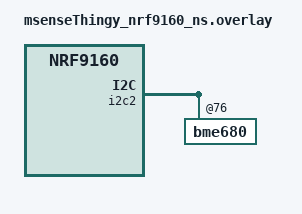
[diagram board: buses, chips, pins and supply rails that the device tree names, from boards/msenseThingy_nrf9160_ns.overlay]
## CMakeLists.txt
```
#
# Copyright (c) 2022 Nordic Semiconductor ASA
#
# SPDX-License-Identifier: LicenseRef-Nordic-5-Clause
#

cmake_minimum_required(VERSION 3.20.0)

find_package(Zephyr REQUIRED HINTS $ENV{ZEPHYR_BASE})
project(nrf_cloud_multi_service_2)
zephyr_compile_definitions(PROJECT_NAME=${PROJECT_NAME})

# Include certs files if enabled.
zephyr_include_directories_ifdef(CONFIG_NRF_CLOUD_PROVISION_CERTIFICATES certs)

# NORDIC SDK APP START
target_sources(app PRIVATE src/main.c)
target_sources(app PRIVATE src/application.c)
target_sources(app PRIVATE src/cloud_connection.c)
target_sources(app PRIVATE src/message_queue.c)
target_sources(app PRIVATE src/temperature.c)
target_sources(app PRIVATE src/fota_support.c)
target_sources(app PRIVATE src/led_control.c)
target_sources(app PRIVATE src/sample_reboot.c)
target_sources(app PRIVATE src/shadow_config.c)

if(CONFIG_LOCATION_TRACKING)
target_sources(app PRIVATE src/location_tracking.c)
endif()

if(CONFIG_COAP_SHADOW)
target_sources(app PRIVATE src/shadow_support_coap.c)
endif()

if(CONFIG_COAP_FOTA)
target_sources(app PRIVATE src/fota_support_coap.c)
endif()

if(CONFIG_NRF_PROVISIONING)
target_sources(app PRIVATE src/provisioning_support.c)
endif()

# Include modem-specific features if supported
if(CONFIG_NRF_MODEM_LIB)
	target_sources(app PRIVATE src/at_commands.c)
endif()

# NORDIC SDK APP END

zephyr_include_directories(src)
```

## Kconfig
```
#
# Copyright (c) 2022 Nordic Semiconductor ASA
#
# SPDX-License-Identifier: LicenseRef-Nordic-5-Clause
#

menu "Multi Service Sample Settings"

config APP_VERSION
	string "Multi Service Sample version"
	default "1.0.0"

config CLOUD_CONNECTION_RETRY_TIMEOUT_SECONDS
	int "Cloud connection retry timeout (seconds)"
	default 30
	help
	  If connecting to nRF Cloud takes longer than this timeout, it will be
	  reattempted.

config CLOUD_READY_TIMEOUT_SECONDS
	int "Cloud readiness timeout (seconds)"
	default 600
	help
	  If the connection to nRF Cloud does not become ready within this
	  timeout, the sample will reset its connection and try again.

config DATE_TIME_ESTABLISHMENT_TIMEOUT_SECONDS
	int "Modem date and time establishment timeout (seconds)"
	default 300
	help
	  The sample will wait this many seconds for the modem to determine the
	  current date and time before giving up and moving on.

config APPLICATION_THREAD_STACK_SIZE
	int "Application Thread Stack Size (bytes)"
	default 2048
	help
	  Sets the stack size (in bytes) for the application thread of the
	  sample.

config CONNECTION_THREAD_STACK_SIZE
	int "Connection Thread Stack Size (bytes)"
	default 2048
	help
	  Sets the stack size (in bytes) for the connection thread of the
	  sample.

config MESSAGE_THREAD_STACK_SIZE
	int "Message Queue Thread Stack Size (bytes)"
	default 2048
	help
	  Sets the stack size (in bytes) for the message queue processing
	  thread of the sample.

config LED_THREAD_STACK_SIZE
	int "LED Thread Stack Size (bytes)"
	default 1024
	help
	  Sets the stack size (in bytes) for the LED thread.

config MAX_OUTGOING_MESSAGES
	int "Outgoing message maximum"
	default 25
	help
	  Sets the maximum number of device messages which may be enqueued
	  before further messages are dropped.
	  Increasing this value may require an increase to CONFIG_HEAP_MEM_POOL_SIZE.

config MAX_CONSECUTIVE_SEND_FAILURES
	int "Max outgoing consecutive send failures"
	default 5
	help
	  Sets the maximum number of device messages which may fail to send
	  before a connection reset and cooldown is triggered.

config CONSECUTIVE_SEND_FAILURE_COOLDOWN_SECONDS
	int "Cooldown after max consecutive send failures exceeded"
	default 10
	help
	  If a connection reset is triggered by too many failed device
	  messages, the sample will wait this long (in seconds) before trying
	  again.

config SENSOR_SAMPLE_INTERVAL_SECONDS
	int "Sensor sampling interval (seconds)"
	default 60
	help
	  Sets the time to wait between each sensor sample.

menuconfig LOCATION_TRACKING
	bool "Location tracking service"
	default y
	help
	  Uses GNSS, LTE, and/or Wi-Fi information to determine and report device
	  location.

if LOCATION_TRACKING

config LOCATION_TRACKING_SAMPLE_INTERVAL_SECONDS
	int "Location sampling interval (seconds)"
	default 3600
	help
	  Sets the location sampling interval in seconds.

config LOCATION_TRACKING_GNSS
	bool "Use GNSS method for location tracking"
	default y
	depends on LOCATION_METHOD_GNSS
	help
	  Disable all location tracking methods to completely disable location tracking.

config LOCATION_TRACKING_CELLULAR
	bool "Use cellular method for location tracking"
	default y
	depends on LOCATION_METHOD_CELLULAR
	help
	  Disable all location tracking methods to completely disable location tracking.

config LOCATION_TRACKING_WIFI
	bool "Use Wi-Fi method for location tracking"
	default n
	depends on LOCATION_METHOD_WIFI
	help
	  Requires the use of an nRF7002 companion chip.
	  Disable all location tracking methods to completely disable location tracking.

endif

config TEMP_DATA_USE_SENSOR
	bool "Use genuine temperature data"
	depends on BOARD_THINGY91_NRF9160_NS || BOARD_THINGY91X_NRF9151_NS || BOARD_MSENSEDK_NRF9160_NS
	default y if BOARD_THINGY91_NRF9160_NS || BOARD_THINGY91X_NRF9151_NS || BOARD_MSENSEDK_NRF9160_NS
	select SENSOR
	select BME680
	help
	  Sets whether to take genuine temperature measurements from a
	  connected BME680 sensor, or just simulate sensor data.

config TEMP_TRACKING
	bool "Track temperature"
	default y
	select NRF_CLOUD_ENABLE_SVC_INF_UI_TEMP
	help
	  Sets whether to take temperature measurements.

config TEMP_ALERT_LIMIT
	int "Temperature limit to send alert"
	default 30
	help
	  Sets the temperature in degrees C over which a temperature alert will
	  be sent to the cloud.

choice
	prompt "LED indication"
	default LED_INDICATION_PWM if BOARD_THINGY91_NRF9160_NS || BOARD_THINGY91X_NRF9151_NS
	default LED_INDICATION_GPIO if BOARD_NRF9160DK_NRF9160_NS || BOARD_NRF9161DK_NRF9161_NS || $(dt_compat_enabled,gpio-leds)
	default LED_INDICATION_DISABLED

	config LED_INDICATION_PWM
		select LED
		select LED_PWM
		select PWM
		bool "Enable LED indication using the pwm-leds driver"

	config LED_INDICATION_GPIO
		select LED
		select LED_GPIO
		bool "Enable LED indication using the gpio-leds driver"

	config LED_INDICATION_DISABLED
		bool "Disable LED indication"
endchoice

choice
	prompt "LED indication LED type"
	depends on !LED_INDICATION_DISABLED
	default LED_INDICATOR_RGB if (BOARD_THINGY91_NRF9160_NS || BOARD_THINGY91X_NRF9151_NS) && LED_INDICATION_PWM
	default LED_INDICATOR_4LED if !LED_INDICATION_DISABLED
	default LED_INDICATOR_NONE

	config LED_INDICATOR_RGB
		depends on LED_INDICATION_PWM
		bool "A single RGB LED"

	config LED_INDICATOR_4LED
		depends on !LED_INDICATION_DISABLED
		bool "Four binary LEDs"

	config LED_INDICATOR_NONE
		depends on LED_INDICATION_DISABLED
		bool "No indicator LEDs"

endchoice

config LED_VERBOSE_INDICATION
	depends on !LED_INDICATION_DISABLED
	bool "Enables extra LED status indications"
	default y

config LED_CONTINUOUS_INDICATION
	depends on !LED_INDICATION_DISABLED
	bool "Show an idle pattern instead of turning LEDs off"
	default y

config GNSS_FIX_TIMEOUT_SECONDS
	int "GNSS Fix timeout"
	default 40
	help
	  On each location sample, try for this long to achieve a GNSS fix
	  before falling back to cellular positioning.
	  Set this to 20 or so seconds below the sensor sample interval so
	  that there is time left over to perform cellular positioning.
	  Otherwise, location samples may occur at a longer interval than
	  requested.

config TEST_COUNTER
	bool "Sets whether the test counter is enabled"
	help
	  When enabled, the test counter configuration setting in the shadow is ignored.

config AT_CMD_REQUESTS
	depends on !NRF_CLOUD_COAP
	bool "Enables remote execution of AT commands using device messages"
	default y

config AT_CMD_REQUEST_RESPONSE_BUFFER_LENGTH
	int "Max length (in bytes) for Modem responses during AT command requests"
	help
	  Responses to modem AT commands are stored in a buffer of this length before being sent to
	  nRF Cloud. If a response from the modem exceeds this length, it will be dropped, and an
	  error code sent in its place (-NRF_E2BIG). Cannot be less than 40 bytes.
	default 200

if NRF_CLOUD_COAP

menuconfig COAP_FOTA
	bool "FOTA service when using CoAP to connect to nRF Cloud"
	select FOTA_DOWNLOAD
	select FOTA_DOWNLOAD_PROGRESS_EVT
	select IMG_ERASE_PROGRESSIVELY
	select DFU_TARGET
	select DOWNLOAD_CLIENT
	select REBOOT
	select CJSON_LIB
	select SETTINGS
	default y

if COAP_FOTA

config COAP_FOTA_JOB_CHECK_RATE_MINUTES
	int "FOTA job check interval (minutes)"
	default 60
	help
	  Sets the time to wait between each request to get any pending FOTA job.

config COAP_FOTA_THREAD_STACK_SIZE
	int "CoAP FOTA Thread Stack Size (bytes)"
	default 2048
	help
	  Sets the stack size (in bytes) for the CoAP FOTA thread of the
	  sample.

endif

menuconfig COAP_SHADOW
	bool "Updating shadow service"
	default y
	help
	  Updates the shadow with device information. Checks for a shadow
	  delta periodically and processes it if received.

if COAP_SHADOW

config COAP_SHADOW_CHECK_RATE_SECONDS
	int "Shadow job check interval (seconds)"
	default 300
	help
	  Sets the time to wait between each request to get any change to the
	  device shadow.

config COAP_SHADOW_THREAD_STACK_SIZE
	int "CoAP Shadow Thread Stack Size (bytes)"
	default 3072
	help
	  Sets the stack size (in bytes) for the CoAP shadow thread of the
	  sample.

endif

config COAP_SEND_CONFIRMABLE
	bool "Send device messages as confirmable"
	help
	  Ensures all CoAP transfers, even for often less important messages such
	  as sensor data, are sent as confirmable messages.

endif

endmenu

if NRF_CLOUD_MQTT
module-str = MQTT Multi Service
endif
if NRF_CLOUD_COAP
module-str = CoAP Multi Service
endif
module = MULTI_SERVICE
source "${ZEPHYR_BASE}/subsys/logging/Kconfig.template.log_config"

menu "Zephyr Kernel"
source "Kconfig.zephyr"
endmenu
```

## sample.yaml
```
sample:
  name: nRF Cloud Multi Service Sample
tests:
  sample.cellular.nrf_cloud_multi_service.mqtt:
    sysbuild: true
    build_only: true
    platform_allow:
      - nrf9151dk/nrf9151/ns
      - nrf9160dk/nrf9160/ns
      - nrf9161dk/nrf9161/ns
      - thingy91/nrf9160/ns
      - msenseThingy/nrf9160/ns
      - nrf9160devkittest/nrf9160/ns
      - msensedk/nrf9160/ns
      - msense_dev
      - thingy91x/nrf9151/ns
    integration_platforms:
      - nrf9151dk/nrf9151/ns
      - nrf9160dk/nrf9160/ns
      - nrf9161dk/nrf9161/ns
      - thingy91/nrf9160/ns
      - msenseThingy/nrf9160/ns
      - msensedk/nrf9160/ns
      - msense_dev
      - nrf9160devkittest/nrf9160/ns
    tags: ci_build sysbuild
  sample.cellular.nrf_cloud_multi_service.mqtt.full:
    sysbuild: true
    build_only: true
    platform_allow: nrf9160dk/nrf9160/ns
    integration_platforms:
      - nrf9160dk/nrf9160/ns
    extra_args: "EXTRA_CONF_FILE=\"overlay_full_modem_fota.conf;\
      overlay_pgps_ext_flash.conf;overlay_mcuboot_ext_flash.conf\""
    tags: ci_build sysbuild
  sample.cellular.nrf_cloud_multi_service.mqtt.min:
    sysbuild: true
    build_only: true
    platform_allow: nrf9160dk/nrf9160/ns
    integration_platforms:
      - nrf9160dk/nrf9160/ns
    extra_args: EXTRA_CONF_FILE="overlay_min_mqtt.conf"
    tags: ci_build sysbuild
  sample.cellular.nrf_cloud_multi_service.coap:
    sysbuild: true
    build_only: true
    platform_allow:
      - nrf9151dk/nrf9151/ns
      - nrf9160dk/nrf9160/ns
      - nrf9161dk/nrf9161/ns
      - thingy91/nrf9160/ns
      - msenseThingy/nrf9160/ns
      - nrf9160devkittest/nrf9160/ns
      - msensedk/nrf9160/ns
      - msense_dev
    integration_platforms:
      - nrf9151dk/nrf9151/ns
      - nrf9160dk/nrf9160/ns
      - nrf9161dk/nrf9161/ns
      - thingy91/nrf9160/ns
      - msenseThingy/nrf9160/ns
      - nrf9160devkittest/nrf9160/ns
      - msensedk/nrf9160/ns
      - msense_dev
    extra_args: EXTRA_CONF_FILE="overlay_coap.conf"
    tags: ci_build sysbuild
  sample.cellular.nrf_cloud_multi_service.coap.min:
    sysbuild: true
    build_only: true
    platform_allow: nrf9160dk/nrf9160/ns
    integration_platforms:
      - nrf9160dk/nrf9160/ns
    extra_args: EXTRA_CONF_FILE="overlay_coap.conf;overlay_min_coap.conf"
    tags: ci_build sysbuild
  sample.cellular.nrf_cloud_multi_service.coap.trace:
    sysbuild: true
    build_only: true
    platform_allow:
      - nrf9151dk/nrf9151/ns
      - nrf9160dk/nrf9160/ns
      - nrf9161dk/nrf9161/ns
    integration_platforms:
      - nrf9151dk/nrf9151/ns
      - nrf9160dk/nrf9160/ns
      - nrf9161dk/nrf9161/ns
    extra_args: EXTRA_CONF_FILE="overlay_coap.conf;overlay-coap_nrf_provisioning.conf"
      nrf_cloud_multi_service_SNIPPET=nrf91-modem-trace-uart
    tags: ci_build sysbuild
  sample.cellular.nrf7002ek_wifi.scan:
    sysbuild: true
    build_only: true
    integration_platforms:
      - nrf9151dk/nrf9151/ns
      - nrf9160dk/nrf9160/ns
      - nrf9161dk/nrf9161/ns
    platform_allow:
      - nrf9151dk/nrf9151/ns
      - nrf9160dk/nrf9160/ns
      - nrf9161dk/nrf9161/ns
    extra_args: nrf_cloud_multi_service_SHIELD=nrf7002ek
      EXTRA_CONF_FILE="overlay-nrf7002ek-wifi-scan-only.conf"
      SB_CONF_FILE="sysbuild_nrf700x-wifi-scan.conf"
    tags: ci_build sysbuild
  sample.cellular.nrf7002ek_wifi.conn:
    sysbuild: true
    build_only: true
    integration_platforms:
      - nrf5340dk/nrf5340/cpuapp/ns
    platform_allow: nrf5340dk/nrf5340/cpuapp/ns
    extra_args: nrf_cloud_multi_service_SHIELD=nrf7002ek
      EXTRA_CONF_FILE="overlay_nrf7002ek_wifi_no_lte.conf"
      SB_CONF_FILE="sysbuild_nrf700x-wifi-conn.conf"
    tags: ci_build sysbuild
```

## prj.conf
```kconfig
#
# Copyright (c) 2022 Nordic Semiconductor ASA
#
# SPDX-License-Identifier: LicenseRef-Nordic-5-Clause
#

# Log level
# For more verbose and detailed log output, set the log level to
CONFIG_MULTI_SERVICE_LOG_LEVEL_DBG=y 
#CONFIG_MULTI_SERVICE_LOG_LEVEL_INF=y

# General config
CONFIG_EVENTS=y
CONFIG_PICOLIBC_IO_FLOAT=y
CONFIG_RESET_ON_FATAL_ERROR=y
CONFIG_NCS_SAMPLES_DEFAULTS=y

# LED indication
# Uncomment these to minimize LED state indication when power savings are necessary
# CONFIG_LED_VERBOSE_INDICATION=n
# CONFIG_LED_CONTINUOUS_INDICATION=n

# Or, uncomment this to completely disable LED state indication
# CONFIG_LED_INDICATION_DISABLED=y

# Improved Logging
# CONFIG_LOG_MODE_DEFERRED allows logging from multiple threads simultaneously without creating
# splintered log entries, at the cost of needing a buffer for storing logs.
CONFIG_LOG_MODE_DEFERRED=y

# CONFIG_LOG_BUFFER_SIZE is the aforementioned buffer. A size of 4096 bytes is useful for debugging
# and prototyping, but is probably more than necessary for production-ready firmware.
CONFIG_LOG_BUFFER_SIZE=4096

# Heap and stacks
# Extended AT host/monitor stack/heap sizes since some nrf_cloud credentials are longer than 1024 bytes.
CONFIG_AT_MONITOR_HEAP_SIZE=2048
CONFIG_AT_HOST_STACK_SIZE=2048
# Extended memory heap size needed both for PGPS and for encoding JSON-based nRF Cloud Device Messages.
CONFIG_HEAP_MEM_POOL_SIZE=100000
CONFIG_SYSTEM_WORKQUEUE_STACK_SIZE=4096

# Enable Networking and Connection Manager.
CONFIG_NETWORKING=y
CONFIG_NET_SOCKETS=y
CONFIG_NET_SOCKETS_OFFLOAD=y
CONFIG_NET_MGMT_EVENT_STACK_SIZE=2048
CONFIG_NET_CONNECTION_MANAGER_MONITOR_STACK_SIZE=1024
CONFIG_MAIN_STACK_SIZE=2048

# Enable LTE Connectivity using Connection Manager
CONFIG_NET_IPV4=y
CONFIG_NET_IPV6=y
CONFIG_NET_IPV6_NBR_CACHE=n
CONFIG_NET_IPV6_MLD=n
CONFIG_NET_CONNECTION_MANAGER=y
CONFIG_NRF_MODEM_LIB_NET_IF=y
CONFIG_NRF_MODEM_LIB_NET_IF_AUTO_DOWN=y
CONFIG_NRF_MODEM_LIB_NET_IF_DOWN_DEFAULT_LTE_DISCONNECT=y

# Enable power savings mode
CONFIG_LTE_PSM_REQ=y
# Set the PSM Requested Active Time to 20 seconds
CONFIG_LTE_PSM_REQ_RAT="00001010"

# Modem library
CONFIG_NRF_MODEM_LIB=y

# AT commands interface
CONFIG_UART_INTERRUPT_DRIVEN=y
CONFIG_AT_HOST_LIBRARY=y

# nRF Cloud
CONFIG_NRF_CLOUD_MQTT=y # This also enables FOTA by implicitly setting CONFIG_NRF_CLOUD_FOTA=y

CONFIG_NRF_CLOUD_CLIENT_ID_PREFIX="msens-"
CONFIG_NRF_CLOUD_CLIENT_ID_SRC_IMEI=y


# MQTT
CONFIG_MQTT_KEEPALIVE=120

# MCUBOOT - Needed by FOTA
CONFIG_BOOTLOADER_MCUBOOT=y
CONFIG_IMG_MANAGER=y
CONFIG_MCUBOOT_IMG_MANAGER=y
CONFIG_STREAM_FLASH_ERASE=y

# Location Services configuration
CONFIG_LOCATION=y
CONFIG_LOCATION_METHOD_GNSS=n
CONFIG_LOCATION_METHOD_CELLULAR=y
CONFIG_NRF_CLOUD_AGNSS=n
CONFIG_NRF_CLOUD_LOCATION=y
CONFIG_MODEM_INFO=y
CONFIG_MODEM_INFO_ADD_NETWORK=y
CONFIG_NRF_CLOUD_PGPS=n
CONFIG_NRF_CLOUD_PGPS_REPLACEMENT_THRESHOLD=4
CONFIG_NRF_CLOUD_PGPS_REQUEST_UPON_INIT=y

# Date Time lib - Used by PGPS and main application
CONFIG_DATE_TIME=y

# LTE link control - used by PGPS and main application
CONFIG_LTE_LINK_CONTROL=y

# Settings - used by nRF Cloud library and PGPS
CONFIG_SETTINGS=y
CONFIG_SETTINGS_FCB=y
CONFIG_FCB=y

# Download Client - used by FOTA and PGPS
CONFIG_DOWNLOAD_CLIENT=y
CONFIG_DOWNLOAD_CLIENT_HTTP_FRAG_SIZE_1024=y
CONFIG_DOWNLOAD_CLIENT_STACK_SIZE=4096
CONFIG_DOWNLOAD_CLIENT_BUF_SIZE=2300
CONFIG_DOWNLOAD_CLIENT_MAX_HOSTNAME_SIZE=128

# Flash - Used by FOTA and PGPS
CONFIG_FLASH=y
CONFIG_FLASH_PAGE_LAYOUT=y
CONFIG_FLASH_MAP=y
CONFIG_STREAM_FLASH=y
CONFIG_MPU_ALLOW_FLASH_WRITE=y
CONFIG_PM_EXTERNAL_FLASH_MCUBOOT_SECONDARY=n
CONFIG_NRF_CLOUD_ALERT=y
CONFIG_NRF_CLOUD_LOG_DIRECT=y
CONFIG_NRF_CLOUD_LOG_OUTPUT_LEVEL=3

# On initial connection to the cloud, add info sections to the shadow
CONFIG_NRF_CLOUD_SEND_DEVICE_STATUS=y
CONFIG_NRF_CLOUD_SEND_DEVICE_STATUS_NETWORK=y
CONFIG_NRF_CLOUD_SEND_DEVICE_STATUS_SIM=y
CONFIG_NRF_CLOUD_SEND_SERVICE_INFO_FOTA=y
CONFIG_NRF_CLOUD_SEND_SERVICE_INFO_UI=y
```

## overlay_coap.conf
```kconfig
#
# Copyright (c) 2022 Nordic Semiconductor ASA
#
# SPDX-License-Identifier: LicenseRef-Nordic-5-Clause
#

# General config
CONFIG_FPU=y
CONFIG_NEWLIB_LIBC_NANO=n

# Rate of cloud interactions
# These are faster than one normally would use in a low power device.
# This is strictly for demo purposes.
CONFIG_SENSOR_SAMPLE_INTERVAL_SECONDS=30
CONFIG_LOCATION_TRACKING_SAMPLE_INTERVAL_SECONDS=1800
CONFIG_COAP_FOTA_JOB_CHECK_RATE_MINUTES=1800

# Logs
CONFIG_LOG=y
CONFIG_NET_LOG=y
CONFIG_LOG_PRINTK=y
CONFIG_COAP_LOG_LEVEL_INF=y
CONFIG_LOCATION_LOG_LEVEL_INF=y
CONFIG_NRF_CLOUD_COAP_LOG_LEVEL_INF=y
CONFIG_MULTI_SERVICE_LOG_LEVEL_INF=y

# LTE link control - used by PGPS and main application
CONFIG_LTE_LINK_CONTROL=y
#CONFIG_NET_L2_VIRTUAL=y

# Modem
CONFIG_MODEM_KEY_MGMT=y
CONFIG_MODEM_JWT=y
CONFIG_MODEM_INFO_ADD_DEVICE=y
CONFIG_MODEM_INFO_ADD_DATE_TIME=n
CONFIG_MODEM_INFO_ADD_SIM=n
CONFIG_MODEM_INFO_ADD_SIM_ICCID=n
CONFIG_MODEM_INFO_ADD_SIM_IMSI=n

# Network
CONFIG_POSIX_API=y
CONFIG_NET_SOCKETS_TLS_SET_MAX_FRAGMENT_LENGTH=y
CONFIG_NET_SOCKETS_OFFLOAD_PRIORITY=40

# CoAP Client
CONFIG_COAP_CLIENT_BLOCK_SIZE=1024
CONFIG_COAP_CLIENT_STACK_SIZE=6144
CONFIG_COAP_CLIENT_THREAD_PRIORITY=0
CONFIG_COAP_EXTENDED_OPTIONS_LEN_VALUE=64

# Not compatible with ground-fix
CONFIG_ZCBOR_CANONICAL=n

# nRF Cloud
CONFIG_NRF_CLOUD_MQTT=n
CONFIG_NRF_CLOUD_COAP=y
CONFIG_NRF_CLOUD_ALERT=y
CONFIG_NRF_CLOUD_LOG_DIRECT=y
CONFIG_NRF_CLOUD_LOG_OUTPUT_LEVEL=3
CONFIG_NRF_CLOUD_LOG_LOG_LEVEL_INF=y
CONFIG_NRF_CLOUD_FOTA_POLL=y

# Disable MQTT-specific services; equivalent CoAP versions are used instead.
CONFIG_NRF_CLOUD_FOTA=n
CONFIG_NRF_CLOUD_LOCATION=n

# Location Services configuration
CONFIG_LOCATION_DATA_DETAILS=y

CONFIG_APPLICATION_THREAD_STACK_SIZE=4096
CONFIG_TEMP_ALERT_LIMIT=24
```

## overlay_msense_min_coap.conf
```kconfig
#
# Copyright (c) 2023 Nordic Semiconductor ASA
#
# SPDX-License-Identifier: LicenseRef-Nordic-5-Clause
#
#heap memory increase
CONFIG_HEAP_MEM_POOL_SIZE=138000

# Save power by slowing down sample rate, and not using LEDs
CONFIG_SENSOR_SAMPLE_INTERVAL_SECONDS=60
CONFIG_LED_INDICATION_DISABLED=y
# Enable optional power savings mode for carrier roaming; this is compatible
# with nRF Cloud CoAP because communications are always initiated by the device.
# It is not compatible with MQTT.
CONFIG_LTE_PROPRIETARY_PSM_REQ=y

# PSM mode parameters
CONFIG_LTE_PSM_REQ_RPTAU="00100001"
CONFIG_LTE_PSM_REQ_RAT="00000000"

# eDRX
CONFIG_LTE_EDRX_REQ=n
CONFIG_LTE_EDRX_REQ_VALUE_LTE_M="1001"

# Disable serial logging to ensure minimum power draw
CONFIG_LOG=n
CONFIG_SERIAL=n
CONFIG_UART_INTERRUPT_DRIVEN=n
CONFIG_UART_CONSOLE=n
CONFIG_AT_HOST_LIBRARY=n
CONFIG_TFM_LOG_LEVEL_SILENCE=y
CONFIG_PM_DEVICE=y

# nRF Cloud
CONFIG_NRF_CLOUD_MQTT=n
CONFIG_NRF_CLOUD_COAP=y

# Disable most services
CONFIG_LOCATION_TRACKING=n
CONFIG_NRF_CLOUD_AGNSS=n
CONFIG_MODEM_INFO=n
CONFIG_MODEM_INFO_ADD_NETWORK=n
CONFIG_NRF_CLOUD_PGPS=n
CONFIG_NRF_CLOUD_PGPS_REQUEST_UPON_INIT=n
CONFIG_NRF_CLOUD_ALERT=n
CONFIG_NRF_CLOUD_LOG_DIRECT=n
CONFIG_NRF_CLOUD_SEND_DEVICE_STATUS=n
CONFIG_NRF_CLOUD_SEND_DEVICE_STATUS_NETWORK=n
CONFIG_NRF_CLOUD_SEND_DEVICE_STATUS_SIM=n
CONFIG_NRF_CLOUD_FOTA=n
CONFIG_NRF_CLOUD_LOCATION=n
CONFIG_COAP_FOTA=n
CONFIG_COAP_SHADOW=n

# Enable only temperature
CONFIG_TEMP_TRACKING=y

# General config
CONFIG_FPU=y
CONFIG_NEWLIB_LIBC_NANO=n

# LTE link control - used by PGPS and main application
CONFIG_LTE_LINK_CONTROL=y

# Modem
CONFIG_MODEM_KEY_MGMT=y
CONFIG_MODEM_JWT=y

# Network
CONFIG_POSIX_API=y
CONFIG_NET_SOCKETS_TLS_SET_MAX_FRAGMENT_LENGTH=y
CONFIG_NET_SOCKETS_OFFLOAD_PRIORITY=40

# CoAP Client
CONFIG_COAP_CLIENT_BLOCK_SIZE=1024
CONFIG_COAP_CLIENT_STACK_SIZE=6144
CONFIG_COAP_CLIENT_THREAD_PRIORITY=0
CONFIG_COAP_EXTENDED_OPTIONS_LEN_VALUE=40

CONFIG_APPLICATION_THREAD_STACK_SIZE=4096
```

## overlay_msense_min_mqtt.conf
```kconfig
#
# Copyright (c) 2023 Nordic Semiconductor ASA
#
# SPDX-License-Identifier: LicenseRef-Nordic-5-Clause
#
#heap memory increase
#CONFIG_HEAP_MEM_POOL_SIZE=138000

# Save power by slowing down sample rate, and not using LEDs
CONFIG_SENSOR_SAMPLE_INTERVAL_SECONDS=180
CONFIG_LED_INDICATION_DISABLED=y

# PSM mode parameters
CONFIG_LTE_PSM_REQ_RPTAU="00100001"
CONFIG_LTE_PSM_REQ_RAT="00000000"

# eDRX
CONFIG_LTE_EDRX_REQ=n
CONFIG_LTE_EDRX_REQ_VALUE_LTE_M="1001"

# Disable serial logging to ensure minimum power draw
CONFIG_LOG=n
CONFIG_SERIAL=n
CONFIG_UART_INTERRUPT_DRIVEN=n
CONFIG_UART_CONSOLE=n
CONFIG_AT_HOST_LIBRARY=n
CONFIG_TFM_LOG_LEVEL_SILENCE=y
CONFIG_PM_DEVICE=y

# Disable most services
CONFIG_LOCATION_TRACKING=n
CONFIG_NRF_CLOUD_AGNSS=n
CONFIG_MODEM_INFO=n
CONFIG_MODEM_INFO_ADD_NETWORK=n
CONFIG_NRF_CLOUD_PGPS=n
CONFIG_NRF_CLOUD_PGPS_REQUEST_UPON_INIT=n
CONFIG_NRF_CLOUD_ALERT=n
CONFIG_NRF_CLOUD_LOG_DIRECT=n
CONFIG_NRF_CLOUD_SEND_DEVICE_STATUS=n
CONFIG_NRF_CLOUD_SEND_DEVICE_STATUS_NETWORK=n
CONFIG_NRF_CLOUD_SEND_DEVICE_STATUS_SIM=n
CONFIG_NRF_CLOUD_FOTA=n
CONFIG_AT_CMD_REQUESTS=n
CONFIG_LOCATION=n
CONFIG_LOCATION_METHOD_GNSS=n
CONFIG_LOCATION_METHOD_CELLULAR=n
CONFIG_NRF_CLOUD_LOCATION=n
CONFIG_LOCATION_SERVICE_NRF_CLOUD=n

# Enable only temperature
CONFIG_TEMP_TRACKING=y
```

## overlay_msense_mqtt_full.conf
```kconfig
#
# Copyright (c) 2023 Nordic Semiconductor ASA
#
# SPDX-License-Identifier: LicenseRef-Nordic-5-Clause
#
# Save power by slowing down sample rate, and not using LEDs
CONFIG_SENSOR_SAMPLE_INTERVAL_SECONDS=800

# Logs
CONFIG_LOG=y
CONFIG_NET_LOG=y
CONFIG_LOG_PRINTK=y
CONFIG_LOCATION_LOG_LEVEL_INF=y
CONFIG_NRF_CLOUD_LOG_LOG_LEVEL_INF=y
CONFIG_MULTI_SERVICE_LOG_LEVEL_INF=y
```

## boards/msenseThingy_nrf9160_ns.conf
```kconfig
#
# Copyright (c) 2021 Nordic Semiconductor ASA
#
# SPDX-License-Identifier: LicenseRef-Nordic-5-Clause
#

# Configuration file for Thingy:91.
# This file is merged with prj.conf in the application folder, and options
# set here will take precedence if they are present in both files.

# Configuration related to external sensors.
CONFIG_SENSOR=y

# BME680 - Temperature and humidity sensor.
CONFIG_BME680=y

CONFIG_PWM=y
CONFIG_LED_PWM=y

# Disable MCUboot DFU -- incompatible with static partitions
CONFIG_SECURE_BOOT=n
CONFIG_BUILD_S1_VARIANT=n
```

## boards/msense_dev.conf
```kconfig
#
# Copyright (c) 2021 Nordic Semiconductor ASA
#
# SPDX-License-Identifier: LicenseRef-Nordic-5-Clause
#

# Configuration file for Thingy:91.
# This file is merged with prj.conf in the application folder, and options
# set here will take precedence if they are present in both files.

# Configuration related to external sensors.
CONFIG_SENSOR=y
CONFIG_I2C=y

# BME680 - Temperature and humidity sensor.
CONFIG_BME680=y

# Disable MCUboot DFU -- incompatible with static partitions
CONFIG_SECURE_BOOT=n
CONFIG_BUILD_S1_VARIANT=n
```

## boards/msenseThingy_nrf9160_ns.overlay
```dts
/*
 * Copyright (c) 2023 Nordic Semiconductor ASA
 *
 * SPDX-License-Identifier: LicenseRef-Nordic-5-Clause
 */

/ {
	aliases {
		temp-sensor = &bme680;
		humidity-sensor = &bme680;
		pressure-sensor = &bme680;
		iaq-sensor = &bme680;
	};
};

&i2c2 {
	bme680: bme680@76 {};
};
```

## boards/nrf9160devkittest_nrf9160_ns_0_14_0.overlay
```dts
/*
 * Copyright (c) 2023 Nordic Semiconductor ASA
 *
 * SPDX-License-Identifier: LicenseRef-Nordic-5-Clause
 */

 / {
	aliases {
		temp-sensor = &bme680;
		humidity-sensor = &bme680;
		pressure-sensor = &bme680;
		iaq-sensor = &bme680;
	};
};

&i2c2 {
	bme680: bme680@76 {};
};
```

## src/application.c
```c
/* Copyright (c) 2023 Nordic Semiconductor ASA
 *
 * SPDX-License-Identifier: LicenseRef-Nordic-5-Clause
 */

#include <zephyr/kernel.h>
#include <zephyr/logging/log.h>
#include <zephyr/logging/log_ctrl.h>
#include <date_time.h>
#include <stdio.h>
#include <net/nrf_cloud.h>
#include <net/nrf_cloud_codec.h>
#include <net/nrf_cloud_log.h>
#include <net/nrf_cloud_alert.h>
#if defined(CONFIG_NRF_CLOUD_COAP)
#include <net/nrf_cloud_coap.h>
#endif
#if defined(CONFIG_LOCATION_TRACKING)
#include <modem/location.h>
#include "location_tracking.h"
#endif
#include "application.h"
#include "temperature.h"
#include "cloud_connection.h"
#include "message_queue.h"
#include "led_control.h"
#include "at_commands.h"
#include "shadow_config.h"
#include <zephyr/drivers/sensor.h>

LOG_MODULE_REGISTER(application, CONFIG_MULTI_SERVICE_LOG_LEVEL);

/* Timer used to time the sensor sampling rate. */
static K_TIMER_DEFINE(sensor_sample_timer, NULL, NULL);

/* AT command request error handling */
#define AT_CMD_REQUEST_ERR_FORMAT "Error while processing AT command request: %d"
#define AT_CMD_REQUEST_ERR_MAX_LEN (sizeof(AT_CMD_REQUEST_ERR_FORMAT) + 20)
BUILD_ASSERT(CONFIG_AT_CMD_REQUEST_RESPONSE_BUFFER_LENGTH >= AT_CMD_REQUEST_ERR_MAX_LEN,
	     "Not enough AT command response buffer for printing error events.");

/* Temperature alert limits. */
#define TEMP_ALERT_LIMIT ((double)CONFIG_TEMP_ALERT_LIMIT)
#define TEMP_ALERT_HYSTERESIS 1.5
#define TEMP_ALERT_LOWER_LIMIT (TEMP_ALERT_LIMIT - TEMP_ALERT_HYSTERESIS)

#define MAX_BUFFER_SIZE 100  // Define a maximum buffer size based on available memory

typedef struct {
    char sensor_name[32];
    double value;
    int64_t timestamp;
} sensor_data_t;

sensor_data_t sensor_buffer[MAX_BUFFER_SIZE];
size_t buffer_index = 0;

void buffer_sensor_data(const char *sensor, double value) {
    if (buffer_index < MAX_BUFFER_SIZE) {
        int err;
        int64_t timestamp;

        // Acquire timestamp using date_time_now()
        err = date_time_now(&timestamp);
        if (err) {
            LOG_ERR("Failed to obtain current time, error %d", err);
            timestamp = k_uptime_get();  // Fallback to uptime if necessary
        }

        // Store sensor data and timestamp in buffer
        strncpy(sensor_buffer[buffer_index].sensor_name, sensor, sizeof(sensor_buffer[buffer_index].sensor_name));
        sensor_buffer[buffer_index].value = value;
        sensor_buffer[buffer_index].timestamp = timestamp;
        buffer_index++;
    } else {
        LOG_ERR("Sensor buffer is full!");
    }
}

/* State of the test counter. This can be changed using the configuration in the shadow */
static bool test_counter_enabled;

/**
 * @brief Construct a device message object with automatically generated timestamp
 *
 * The resultant JSON object will be conformal to the General Message Schema described in the
 * application-protocols repo:
 *
 * https://github.com/nRFCloud/application-protocols
 *
 * @param msg - The object to contain the message
 * @param appid - The appId for the device message
 * @param msg_type - The messageType for the device message
 * @return int - 0 on success, negative error code otherwise.
 */
static int create_timestamped_device_message(struct nrf_cloud_obj *const msg,
					     const char *const appid,
					     const char *const msg_type)
{
	int err;
	int64_t timestamp;

	/* Acquire timestamp */
	err = date_time_now(&timestamp);
	if (err) {
		LOG_ERR("Failed to obtain current time, error %d", err);
		return -ETIME;
	}

	/* Create message object */
	err = nrf_cloud_obj_msg_init(msg, appid,
				     IS_ENABLED(CONFIG_NRF_CLOUD_COAP) ? NULL : msg_type);
	if (err) {
		LOG_ERR("Failed to initialize message with appid %s and msg type %s",
			appid, msg_type);
		return err;
	}

	/* Add timestamp to message object */
	err = nrf_cloud_obj_ts_add(msg, timestamp);
	if (err) {
		LOG_ERR("Failed to add timestamp to data message with appid %s and msg type %s",
			appid, msg_type);
		nrf_cloud_obj_free(msg);
		return err;
	}

	return 0;
}

int create_timestamped_device_message_with_ts(struct nrf_cloud_obj *const msg,
                                              const char *const appid,
                                              const char *const msg_type,
                                              int64_t timestamp) {
    int err;

    // Create message object
    err = nrf_cloud_obj_msg_init(msg, appid,
                                 IS_ENABLED(CONFIG_NRF_CLOUD_COAP) ? NULL : msg_type);
    if (err) {
        LOG_ERR("Failed to initialize message with appid %s and msg type %s",
                appid, msg_type);
        return err;
    }

    // Add timestamp to message object
    err = nrf_cloud_obj_ts_add(msg, timestamp);
    if (err) {
        LOG_ERR("Failed to add timestamp to data message with appid %s and msg type %s",
                appid, msg_type);
        nrf_cloud_obj_free(msg);
        return err;
    }

    return 0;
}

/**
 * @brief Transmit a collected sensor sample to nRF Cloud.
 *
 * @param sensor - The name of the sensor which was sampled.
 * @param value - The sampled sensor value.
 * @return int - 0 on success, negative error code otherwise.
 */
static int send_sensor_sample(const char *const sensor, double value)
{
	int ret;

	MSG_OBJ_DEFINE(msg_obj);

	/* Create a timestamped message container object for the sensor sample. */
	ret = create_timestamped_device_message(&msg_obj, sensor,
						NRF_CLOUD_JSON_MSG_TYPE_VAL_DATA);
	if (ret) {
		return -EINVAL;
	}

	/* Populate the container object with the sensor value. */
	LOG_INF("Add obj to single send: %f", value);
	ret = nrf_cloud_obj_num_add(&msg_obj, NRF_CLOUD_JSON_DATA_KEY, value, false);
	if (ret) {
		LOG_ERR("Failed to append value to %s sample container object ",
			sensor);
		nrf_cloud_obj_free(&msg_obj);
		return -ENOMEM;
	}

	/* Send the sensor sample container object as a device message. */
	return send_device_message(&msg_obj);
}
#if defined(CONFIG_NRF_CLOUD_COAP)
void send_buffered_data() {
    int ret;
    NRF_CLOUD_OBJ_JSON_DEFINE(msg_obj);

    LOG_INF("Sending buffered data as individual CoAP messages");

    for (size_t i = 0; i < buffer_index; i++) {
        // Initialize the message object
        ret = create_timestamped_device_message_with_ts(&msg_obj,
                                                        sensor_buffer[i].sensor_name,
                                                        NRF_CLOUD_JSON_MSG_TYPE_VAL_DATA,
                                                        sensor_buffer[i].timestamp);
        if (ret) {
            LOG_ERR("Failed to create message object: %d", ret);
            continue;
        }

        // Add the sensor value to the message
        ret = nrf_cloud_obj_num_add(&msg_obj, NRF_CLOUD_JSON_DATA_KEY, sensor_buffer[i].value, false);
        if (ret) {
            LOG_ERR("Failed to add data to message object: %d", ret);
            nrf_cloud_obj_free(&msg_obj);
            continue;
        }

        // Send the message
        LOG_INF("Sending message for sensor %s with value %f", sensor_buffer[i].sensor_name, sensor_buffer[i].value);
        ret = send_device_message(&msg_obj);
        if (ret) {
            LOG_ERR("Failed to send message: %d", ret);
            nrf_cloud_obj_free(&msg_obj);
            continue;
        }

        // Reset the message object for reuse
        nrf_cloud_obj_reset(&msg_obj);
    }

    // Clear the buffer after sending all messages
    LOG_INF("All buffered messages sent. Clearing buffer.");
    buffer_index = 0;
}
#endif

#if defined(CONFIG_NRF_CLOUD_MQTT)
void send_buffered_data() {
    int ret;
    NRF_CLOUD_OBJ_JSON_DEFINE(bulk_obj);
    NRF_CLOUD_OBJ_JSON_DEFINE(msg_obj);
	LOG_INF("Initializing bulk message");
    ret = nrf_cloud_obj_bulk_init(&bulk_obj);
    if (ret) {
        LOG_ERR("Failed to initialize bulk message: %d", ret);
        return;
    }

    for (size_t i = 0; i < buffer_index; i++) {
        ret = create_timestamped_device_message_with_ts(&msg_obj,
                                                        sensor_buffer[i].sensor_name,
                                                        NRF_CLOUD_JSON_MSG_TYPE_VAL_DATA,
                                                        sensor_buffer[i].timestamp);
        if (ret) {
            LOG_ERR("Failed to create message object: %d", ret);
            continue;
        }

        ret = nrf_cloud_obj_num_add(&msg_obj, NRF_CLOUD_JSON_DATA_KEY, sensor_buffer[i].value, false);
		LOG_INF("Add obj to bulk send: %f", sensor_buffer[i].value);
        if (ret) {
            LOG_ERR("Failed to add data to message object: %d", ret);
            nrf_cloud_obj_free(&msg_obj);
            continue;
        }

        ret = nrf_cloud_obj_bulk_add(&bulk_obj, &msg_obj);
        if (ret) {
            LOG_ERR("Failed to add message to bulk object: %d", ret);
            nrf_cloud_obj_free(&msg_obj);
            continue;
        }
        nrf_cloud_obj_reset(&msg_obj);
    }
	LOG_INF("Send bulk message");
    ret = send_device_message(&bulk_obj);
	
    if (ret) {
        LOG_ERR("Failed to send bulk message: %d", ret);
    } else {
        // Clear the buffer after successful send
        buffer_index = 0;
    }

    nrf_cloud_obj_free(&bulk_obj);
}
#endif

#if defined(CONFIG_LOCATION_TRACKING)
/**
 * @brief Transmit a collected GNSS sample to nRF Cloud.
 *
 * @param loc_gnss - GNSS location data.
 * @return int - 0 on success, negative error code otherwise.
 */
static int send_gnss(const struct location_event_data * const loc_gnss)
{
	int ret;

	if (!loc_gnss || (loc_gnss->method != LOCATION_METHOD_GNSS)) {
		return -EINVAL;
	}

	struct nrf_cloud_gnss_data gnss_pvt = {
		.type = NRF_CLOUD_GNSS_TYPE_PVT,
		.ts_ms = NRF_CLOUD_NO_TIMESTAMP,
		.pvt = {
			.lon		= loc_gnss->location.longitude,
			.lat		= loc_gnss->location.latitude,
			.accuracy	= loc_gnss->location.accuracy,
			.has_alt	= 0,
			.has_speed	= 0,
			.has_heading	= 0
		}
	};
	MSG_OBJ_DEFINE(msg_obj);

	/* Add the timestamp */
	(void)date_time_now(&gnss_pvt.ts_ms);

	/* Encode the location data into a device message */
	ret = nrf_cloud_obj_gnss_msg_create(&msg_obj, &gnss_pvt);

	if (ret == 0) {
		/* Send the location message */
		ret = send_device_message(&msg_obj);
	}

	return ret;
}

/**
 * @brief Callback to receive periodic location updates from location_tracking.c and forward them
 * to nRF Cloud.
 *
 * Note that cellular positioning (MCELL/Multi-Cell and SCELL/Single-Cell) is sent to nRF
 * Cloud automatically (since the Location library and nRF Cloud must work together to
 * determine them in the first place). GNSS positions, on the other hand, must be
 * sent manually, since they are determined entirely on-device.
 *
 * @param location_data - The received location update.
 *
 */
static void on_location_update(const struct location_event_data * const location_data)
{
	LOG_INF("Location Updated: %.06f N %.06f W, accuracy: %.01f m, Method: %s",
		location_data->location.latitude,
		location_data->location.longitude,
		(double)location_data->location.accuracy,
		location_method_str(location_data->method));

	/* If the position update was derived using GNSS, send it onward to nRF Cloud. */
	if (location_data->method == LOCATION_METHOD_GNSS) {
		LOG_INF("GNSS Position Update! Sending to nRF Cloud...");
		send_gnss(location_data);
	}
}
#endif /* CONFIG_LOCATION_TRACKING */

/**
 * @brief Receives general device messages from nRF Cloud, checks if they are AT command requests,
 * and performs them if so, transmitting the modem response back to nRF Cloud.
 *
 * Try sending {"appId":"MODEM", "messageType":"CMD", "data":"AT+CGMR"}
 * in the nRF Cloud Portal Terminal card.
 *
 * @param msg - The device message to check.
 */
static void handle_at_cmd_requests(const struct nrf_cloud_data *const dev_msg)
{
	char *cmd;
	struct nrf_cloud_obj msg_obj;
	int err = nrf_cloud_obj_input_decode(&msg_obj, dev_msg);

	if (err) {
		/* The message isn't JSON or otherwise couldn't be parsed. */
		LOG_DBG("A general topic device message of length %d could not be parsed.",
			dev_msg->len);
		return;
	}

	/* Confirm app ID and message type */
	err = nrf_cloud_obj_msg_check(&msg_obj, NRF_CLOUD_JSON_APPID_VAL_MODEM,
				      NRF_CLOUD_JSON_MSG_TYPE_VAL_CMD);
	if (err) {
		goto cleanup;
	}

	/* Get the command string */
	err = nrf_cloud_obj_str_get(&msg_obj, NRF_CLOUD_JSON_DATA_KEY, &cmd);
	if (err) {
		/* Missing or invalid command value will be treated as a blank command */
		cmd = "";
	}

	/* Execute the command and receive the result */
	char *response = execute_at_cmd_request(cmd);

	/* To re-use msg_obj for the response message we must first free its memory and
	 * reset its state.
	 * The cmd string will no longer be valid after msg_obj is freed.
	 */
	cmd = NULL;
	/* Free the object's allocated memory */
	err = nrf_cloud_obj_free(&msg_obj);
	if (err) {
		LOG_ERR("Failed to free AT CMD request");
		return;
	}

	/* Reset the object's state */
	err = nrf_cloud_obj_reset(&msg_obj);
	if (err) {
		LOG_ERR("Failed to reset AT CMD request message object for reuse");
		return;
	}

	err = create_timestamped_device_message(&msg_obj, NRF_CLOUD_JSON_APPID_VAL_MODEM,
						NRF_CLOUD_JSON_MSG_TYPE_VAL_DATA);
	if (err) {
		return;
	}

	/* Populate response with command result */
	err = nrf_cloud_obj_str_add(&msg_obj, NRF_CLOUD_JSON_DATA_KEY, response, false);
	if (err) {
		LOG_ERR("Failed to populate AT CMD response with modem response data");
		goto cleanup;
	}

	/* Send the response */
	err = send_device_message(&msg_obj);
	if (err) {
		LOG_ERR("Failed to send AT CMD request response, error: %d", err);
	}

	return;

cleanup:
	(void)nrf_cloud_obj_free(&msg_obj);
}

/** @brief Check whether temperature is acceptable.
 * If the device exceeds a temperature limit, send the temperature alert one time.
 * Once the temperature falls below a lower limit, re-enable the temperature alert
 * so it will be sent if limit is exceeded again.
 *
 * The difference between the two limits should be sufficient to prevent sending
 * new alerts if the temperature value oscillates between two nearby values.
 *
 * @param temp - The current device temperature.
 */
static void monitor_temperature(double temp)
{
	static bool temperature_alert_active;

	if ((temp > TEMP_ALERT_LIMIT) && !temperature_alert_active) {
		temperature_alert_active = true;
		(void)nrf_cloud_alert_send(ALERT_TYPE_TEMPERATURE, (float)temp,
					   "Temperature over limit!");
		LOG_INF("Temperature limit %f C exceeded: now %f C.",
			TEMP_ALERT_LIMIT, temp);
	} else if ((temp < TEMP_ALERT_LOWER_LIMIT) && temperature_alert_active) {
		temperature_alert_active = false;
		LOG_INF("Temperature now below limit: %f C.", temp);
	}
}

void main_application_thread_fn(void)
{
	if (IS_ENABLED(CONFIG_AT_CMD_REQUESTS)) {
		/* Register with connection.c to receive general device messages and check them for
		 * AT command requests.
		 */
		register_general_dev_msg_handler(handle_at_cmd_requests);
	}

	/* Wait for first connection before starting the application. */
	(void)await_cloud_ready(K_FOREVER);

	(void)nrf_cloud_alert_send(ALERT_TYPE_DEVICE_NOW_ONLINE, 0, NULL);

	/* Wait for the date and time to become known.
	 * This is needed both for location services and for sensor sample timestamping.
	 */
	LOG_INF("Waiting for modem to determine current date and time");
	if (!await_date_time_known(K_SECONDS(CONFIG_DATE_TIME_ESTABLISHMENT_TIMEOUT_SECONDS))) {
		LOG_WRN("Failed to determine valid date time. Proceeding anyways");
	} else {
		LOG_INF("Current date and time determined");
	}

	const char *protocol = "";

	if (IS_ENABLED(CONFIG_NRF_CLOUD_MQTT)) {
		protocol = "MQTT";
	} else if (IS_ENABLED(CONFIG_NRF_CLOUD_COAP)) {
		protocol = "CoAP";
	}
	nrf_cloud_log_init();
	nrf_cloud_log_control_set(CONFIG_NRF_CLOUD_LOG_OUTPUT_LEVEL);
	/* Send a direct log to the nRF Cloud web portal indicating the sample has started up. */
	(void)nrf_cloud_log_send(LOG_LEVEL_INF,
				 "nRF Cloud multi-service sample has started, "
				 "version: %s, protocol: %s",
				 CONFIG_APP_VERSION, protocol);

#if defined(CONFIG_LOCATION_TRACKING)
	/* Begin tracking location at the configured interval. */
	(void)start_location_tracking(on_location_update,
					CONFIG_LOCATION_TRACKING_SAMPLE_INTERVAL_SECONDS);
#endif
	int counter = 0;
	int sendcounter = 9999;
	int sendcounter_compare = 5;
	/* Begin sampling sensors. */
	while (true) {
		/* Start the sensor sample interval timer.
		 * We use a timer here instead of merely sleeping the thread, because the
		 * application thread can be preempted by other threads performing long tasks
		 * (such as periodic location acquisition), and we want to account for these
		 * delays when metering the sample send rate.
		 */
		k_timer_start(&sensor_sample_timer,
			K_SECONDS(CONFIG_SENSOR_SAMPLE_INTERVAL_SECONDS), K_FOREVER);

		if (test_counter_enable_get()) {
			LOG_INF("Sent test counter = %d", counter);
            buffer_sensor_data("COUNT", counter++);
        	
		}

		if (IS_ENABLED(CONFIG_TEMP_TRACKING)) {
			double temp = -1;
			double gas = -1;
			double humidity = -1;
			double pressure = -1;
			double voltage = -1;

			if (get_all_data(&temp, &humidity, &pressure, &gas)== 0) {
				buffer_sensor_data(NRF_CLOUD_JSON_APPID_VAL_TEMP, temp);
				monitor_temperature(temp);
				LOG_INF("Temperature is %f degrees C", temp);
				buffer_sensor_data(NRF_CLOUD_JSON_APPID_VAL_AIR_QUAL, gas);
				LOG_INF("Gas Resistance is %d OHM", (int)gas);
				buffer_sensor_data(NRF_CLOUD_JSON_APPID_VAL_AIR_PRESS, pressure);
				LOG_INF("pressure is %f pascal", pressure);
				buffer_sensor_data(NRF_CLOUD_JSON_APPID_VAL_HUMID, humidity);
				LOG_INF("Humidity is %f %%", humidity);
			}
			else{
				LOG_ERR("Failed to get sensor data");
			}

			if (sendcounter++ > sendcounter_compare) {
				if(get_voltage(&voltage) == 0){
					buffer_sensor_data("VBATT", voltage);
					LOG_INF("Voltage is %f V", voltage);
				}
				else{
					LOG_ERR("Failed to get voltage data");
				}


				LOG_INF("Sending data %d datapoints", (int)buffer_index);
            	send_buffered_data();
				sendcounter = 0;
			}

		}
		/* Wait out any remaining time on the sample interval timer. */
		k_timer_status_sync(&sensor_sample_timer);
	}
}

void test_counter_enable_set(const bool enable)
{
	if (IS_ENABLED(CONFIG_TEST_COUNTER)) {
		LOG_DBG("CONFIG_TEST_COUNTER is enabled, ignoring state change request");
	} else {
		LOG_DBG("Test counter %s", enable ? "enabled" : "disabled");
		test_counter_enabled = enable;
	}
}

bool test_counter_enable_get(void)
{
	/* When CONFIG_TEST_COUNTER is enabled the test counter is always enabled */
	return (test_counter_enabled || IS_ENABLED(CONFIG_TEST_COUNTER));
}
```

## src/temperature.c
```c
/* Copyright (c) 2022 Nordic Semiconductor ASA
 *
 * SPDX-License-Identifier: LicenseRef-Nordic-5-Clause
 */

#include <zephyr/kernel.h>
#include <zephyr/logging/log.h>

#if CONFIG_TEMP_DATA_USE_SENSOR

#include <zephyr/devicetree.h>
#include <zephyr/drivers/sensor.h>

#else /* CONFIG_TEMP_DATA_USE_SENSOR */

#include <zephyr/random/random.h>

#endif /* CONFIG_TEMP_DATA_USE_SENSOR */

#include "temperature.h"

LOG_MODULE_REGISTER(temperature, CONFIG_MULTI_SERVICE_LOG_LEVEL);

#if CONFIG_TEMP_DATA_USE_SENSOR

static const struct device *temp_sensor = DEVICE_DT_GET(DT_ALIAS(temp_sensor));
static const struct device *charger = DEVICE_DT_GET(DT_NODELABEL(npm1300_ek_charger));

int get_temperature(double *temp)
{
	int err;
	struct sensor_value data = {0};

	/* Fetch all data the sensor supports. */
	err = sensor_sample_fetch_chan(temp_sensor, SENSOR_CHAN_ALL);
	if (err) {
		LOG_ERR("Failed to sample sensor, error %d", err);
		return -ENODATA;
	}

	/* Pick out the ambient temperature data. */
	err = sensor_channel_get(temp_sensor, SENSOR_CHAN_AMBIENT_TEMP, &data);
	if (err) {
		LOG_ERR("Failed to read temperature, error %d", err);
		return -ENODATA;
	}

	*temp = sensor_value_to_double(&data);

	return 0;
}

int get_voltage(double *voltage)
{
	int err;
	struct sensor_value data = {0};

	/* Fetch all data the sensor supports. */
	err = sensor_sample_fetch_chan(charger, SENSOR_CHAN_ALL);
	if (err) {
		LOG_ERR("Failed to sample sensor, error %d", err);
		return -ENODATA;
	}

	/* Pick out the voltage data. */
	err = sensor_channel_get(charger, SENSOR_CHAN_GAUGE_VOLTAGE, &data);
	if (err) {
		LOG_ERR("Failed to read voltage, error %d", err);
		return -ENODATA;
	}

	*voltage = sensor_value_to_double(&data);

	return 0;
}

int get_data(double *value, int DEFINED_TYPE)
{
	int err;
	struct sensor_value data = {0};

	/* Fetch all data the sensor supports. */
	err = sensor_sample_fetch_chan(temp_sensor, SENSOR_CHAN_ALL);
	if (err) {
		LOG_ERR("Failed to sample sensor, error %d", err);
		return -ENODATA;
	}

	/* Pick out the defined type data. */
	err = sensor_channel_get(temp_sensor, DEFINED_TYPE, &data);
	if (err) {
		LOG_ERR("Failed to read temperature, error %d", err);
		return -ENODATA;
	}

	*value = sensor_value_to_double(&data);

	return 0;
}

int get_all_data(double *temp_variable, double *hum_variable, double *pressure_variable,double *gas_variable )
{
	int err;
	struct sensor_value data = {0};

	/* Fetch all data the sensor supports. */
	err = sensor_sample_fetch_chan(temp_sensor, SENSOR_CHAN_ALL);
	if (err) {
		LOG_ERR("Failed to sample sensor, error %d", err);
		return -ENODATA;
	}

	/* Pick out the defined type data. */
	err = sensor_channel_get(temp_sensor, SENSOR_CHAN_AMBIENT_TEMP, &data);
	if (err) {
		LOG_ERR("Failed to read temperature, error %d", err);
	}
	*temp_variable = sensor_value_to_double(&data);

	err = sensor_channel_get(temp_sensor, SENSOR_CHAN_HUMIDITY, &data);
	if (err) {
		LOG_ERR("Failed to read humidity, error %d", err);
	}
	*hum_variable = sensor_value_to_double(&data);

	err = sensor_channel_get(temp_sensor, SENSOR_CHAN_PRESS, &data);
	if (err) {
		LOG_ERR("Failed to read pressure, error %d", err);
	}
	*pressure_variable = sensor_value_to_double(&data);

	err = sensor_channel_get(temp_sensor, SENSOR_CHAN_GAS_RES, &data);
	if (err) {
		LOG_ERR("Failed to read gasres, error %d", err);
	}
	*gas_variable = sensor_value_to_double(&data);

	return 0;
}

#else /* CONFIG_TEMP_DATA_USE_SENSOR */

int get_temperature(double *temp)
{
	*temp = 22.0 + (sys_rand32_get() % 100) / 40.0;
	return 0;
}

#endif /* CONFIG_TEMP_DATA_USE_SENSOR */
```

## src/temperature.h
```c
/* Copyright (c) 2022 Nordic Semiconductor ASA
 *
 * SPDX-License-Identifier: LicenseRef-Nordic-5-Clause
 */

#ifndef _TEMPERATURE_H_
#define _TEMPERATURE_H_

/**
 * @brief Take a temperature sample.
 *
 * Value will either be a real sensor value taken from a sensor with device tree alias temp_sensor,
 * (if CONFIG_TEMP_DATA_USE_SENSOR is set) or will otherwise be a pseudorandom dummy reading.
 *
 * @param[out] temp - Pointer to the double to be filled with the taken temperature sample.
 * @return int - 0 on success, otherwise, negative error code.
 */
int get_temperature(double *temp);
int get_data(double *value, int DEFINED_TYPE);
int get_all_data(double *temp_variable, double *hum_variable, double *pressure_variable,double *gas_variable );
#endif /* _TEMPERATURE_H_ */
```
